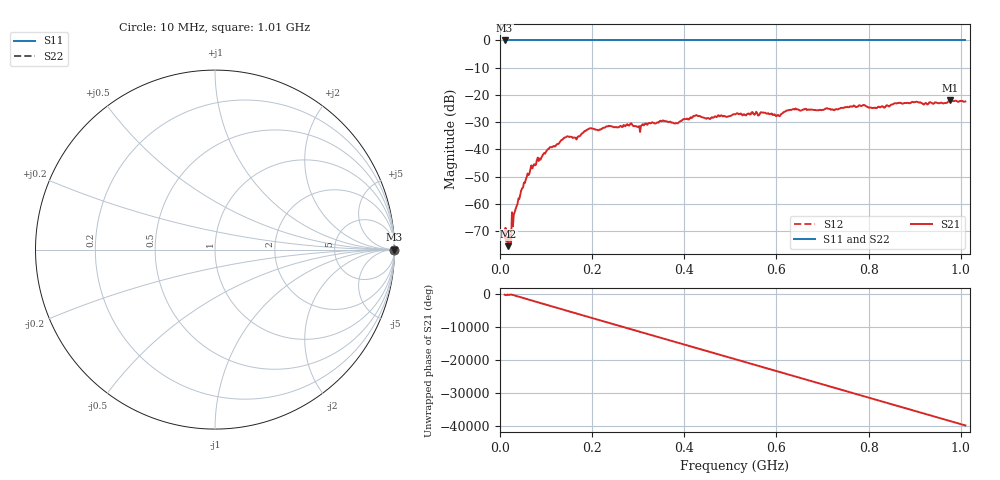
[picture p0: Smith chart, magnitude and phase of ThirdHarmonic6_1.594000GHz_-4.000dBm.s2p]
! 8/16/2025 6:59:25 PM
! C:\ANRITSUVNA\TEMP\TEMP.S2P
! CHANNEL.1
! TR.MEASUREMENT
! RAW.DATA
! RF.CORRECTION.OFF
! AVERAGING.OFF
! IF.BANDWIDTH: 5KHZ
! SWEEPTYPE:  FREQ.SWEEP(Linear)
! Reference Plane Port Info
! PORT:  PORT1  PORT2
! DISTANCE:  0  m  0  m
! TIME:  0  s  0  s
! PHASE.OFFSET:  0  deg.  0  deg.
! LOSS:  0  dB  0  dB
! REF.LOSS:  0  dB  0  dB
! REF.FREQ:  0  Hz  0  Hz
! Power Info
! POWER:  -20  dBm  -20  dBm
! EFF.POWER:  -20  dBm  -20  dBm
! SOURCE.ATTEN:  0  dB  0  dB
! TEST.ATTEN:  0  dB  0  dB
# GHZ S RI R 50.0
! FREQ.GHZ  S11RE  S11IM  S21RE  S21IM  S12RE  S12IM  S22RE  S22IM
!; PortSelection: Port_12
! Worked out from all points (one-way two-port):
!   501 points, 10 MHz to 1.01 GHz, reference 50 ohm
!   highest |S21| = -22.02 dB at 976 MHz (marker M1); lowest = -75.5 dB at 18 MHz (marker M2)
!   lowest |S11| = 0.0 dB at 10 MHz (marker M3)
!   |S11| at or under -10 dB: nowhere
!   |S22| runs from 0.0 to 0.0 dB; largest |S21 - S12| = 1.1
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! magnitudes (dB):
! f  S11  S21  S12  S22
! 10 MHz  0.0  -72.4  0.0  0.0
! 18 MHz  0.0  -75.5  0.0  0.0
! 20 MHz  0.0  -72.5  0.0  0.0
! 30 MHz  0.0  -63.7  0.0  0.0
! 44 MHz  0.0  -56.5  0.0  0.0
! 70 MHz  0.0  -47.0  0.0  0.0
! 106 MHz  0.0  -39.8  0.0  0.0
! 142 MHz  0.0  -35.6  0.0  0.0
! 178 MHz  0.0  -34.1  0.0  0.0
! 196 MHz  0.0  -32.3  0.0  0.0
! 280 MHz  0.0  -31.3  0.0  0.0
! 302 MHz  0.0  -31.4  0.0  0.0
! 344 MHz  0.0  -30.2  0.0  0.0
! 382 MHz  0.0  -30.3  0.0  0.0
! 424 MHz  0.0  -27.6  0.0  0.0
! 510 MHz  0.0  -27.1  0.0  0.0
! 604 MHz  0.0  -27.4  0.0  0.0
! 638 MHz  0.0  -25.2  0.0  0.0
! 678 MHz  0.0  -25.4  0.0  0.0
! 844 MHz  0.0  -24.2  0.0  0.0
! 976 MHz  0.0  -22.0  0.0  0.0
! 1.01 GHz  0.0  -22.4  0.0  0.0
